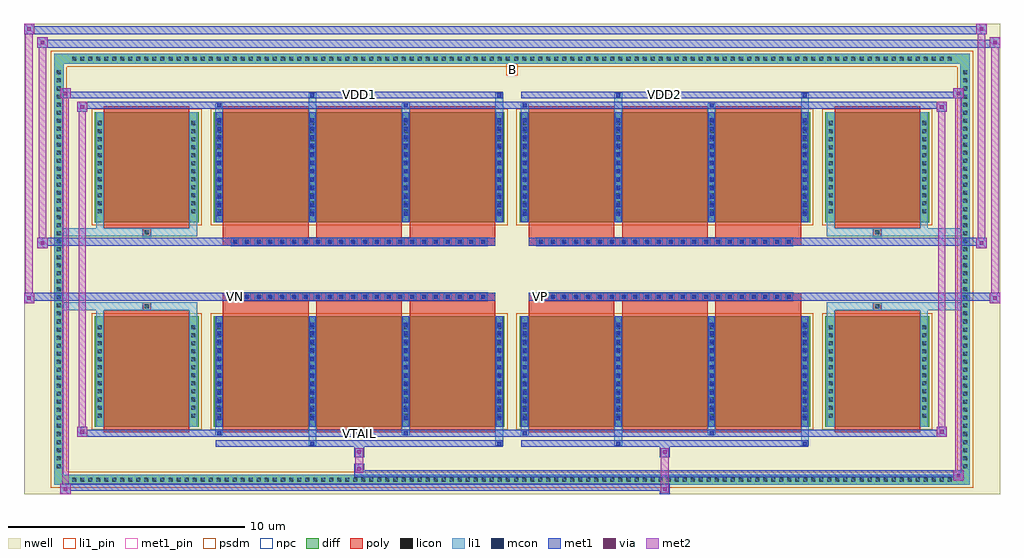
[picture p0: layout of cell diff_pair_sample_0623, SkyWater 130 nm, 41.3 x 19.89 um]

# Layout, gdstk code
import gdstk
lib = gdstk.Library(unit=1e-6, precision=5e-09)
def R(c, l, rs):  # rectangles x0, y0, x1, y1
    for r in rs: c.add(gdstk.rectangle(r[:2], r[2:], *l))
def A(c, l, x, y, w, h, nx, ny, dx, dy):  # array of equal rectangles
    R(c, l, [(x+i*dx, y+j*dy, x+i*dx+w, y+j*dy+h) for i in range(nx) for j in range(ny)])
def P(c, l, *ps):  # polygons
    for p in ps: c.add(gdstk.Polygon(p, *l))
nwell = (64, 20)
diff = (65, 20)
poly = (66, 20)
licon = (66, 44)
li1_pin = (67, 16)
li1 = (67, 20)
mcon = (67, 44)
met1_pin = (68, 16)
met1 = (68, 20)
via = (68, 44)
met2 = (69, 20)
psdm = (94, 20)
npc = (95, 20)

diff_pair_sample_0623 = lib.new_cell('diff_pair_sample_0623')
R(diff_pair_sample_0623, nwell, [(-20.65,-9.51,20.65,10.38), (-17.97,-7.7,-0.01,-0.8), (0.01,-7.7,17.97,-0.8), (-17.97,0.8,-0.01,7.7), (0.01,0.8,17.97,7.7)])
A(diff_pair_sample_0623, diff, -18.735, -9.11, 0.41, 0.41, 110, 2, 0.34, 17.81)
A(diff_pair_sample_0623, diff, -19.38, -8.535, 0.41, 0.41, 1, 50, 0, 0.34)
A(diff_pair_sample_0623, diff, 18.97, -8.535, 0.41, 0.41, 1, 50, 0, 0.34)
R(diff_pair_sample_0623, diff, [(-18.735,-9.11,18.735,-8.7), (-19.38,-8.535,-18.97,8.535), (18.97,-8.535,19.38,8.535), (-17.66,-6.655,-13.26,-1.985), (-12.62,-6.655,-0.32,-1.985), (0.32,-6.655,12.62,-1.985), (13.26,-6.655,17.66,-1.985), (-17.66,1.985,-13.26,6.655), (-12.62,1.985,-0.32,6.655), (0.32,1.985,12.62,6.655), (13.26,1.985,17.66,6.655), (-18.735,8.7,18.735,9.11)])
P(diff_pair_sample_0623, diff, [(19.38,9.11),(-19.38,9.11),(-19.38,-8.7),(-18.97,-8.7),(-18.97,8.7),(18.97,8.7),(18.97,-8.7),(-18.97,-8.7),(-19.38,-8.7),(-19.38,-9.11),(19.38,-9.11)])
A(diff_pair_sample_0623, poly, -12.23, -6.905, 3.62, 5.17, 3, 2, 3.95, 8.64)
A(diff_pair_sample_0623, poly, 0.71, -6.905, 3.62, 5.17, 3, 2, 3.95, 8.64)
A(diff_pair_sample_0623, poly, -12.23, -1.735, 3.62, 0.405, 3, 2, 3.95, 3.065)
A(diff_pair_sample_0623, poly, 0.71, -1.735, 3.62, 0.405, 3, 2, 3.95, 3.065)
A(diff_pair_sample_0623, poly, -11.885, -1.33, 0.33, 0.33, 22, 2, 0.5, 2.33)
A(diff_pair_sample_0623, poly, 1.055, -1.33, 0.33, 0.33, 22, 2, 0.5, 2.33)
R(diff_pair_sample_0623, poly, [(-17.27,-6.905,-13.65,-1.735), (13.65,-6.905,17.27,-1.735), (-15.625,-1.735,-15.295,-1.405), (-15.625,-1.735,-15.295,-1.405), (15.295,-1.735,15.625,-1.405), (15.295,-1.735,15.625,-1.405), (-12.23,-1.33,-0.71,-1), (0.71,-1.33,12.23,-1), (-12.23,1,-0.71,1.33), (0.71,1,12.23,1.33), (-15.625,1.405,-15.295,1.735), (-15.625,1.405,-15.295,1.735), (15.295,1.405,15.625,1.735), (15.295,1.405,15.625,1.735), (-17.27,1.735,-13.65,6.905), (13.65,1.735,17.27,6.905)])
A(diff_pair_sample_0623, licon, -18.615, -8.99, 0.17, 0.17, 110, 2, 0.34, 17.81)
A(diff_pair_sample_0623, licon, -19.26, -8.415, 0.17, 0.17, 1, 50, 0, 0.34)
A(diff_pair_sample_0623, licon, 19.09, -8.415, 0.17, 0.17, 1, 50, 0, 0.34)
A(diff_pair_sample_0623, licon, -17.52, -6.275, 0.17, 0.17, 1, 12, 0, 0.34)
A(diff_pair_sample_0623, licon, -13.57, -6.275, 0.17, 0.17, 1, 12, 0, 0.34)
A(diff_pair_sample_0623, licon, -12.48, -6.275, 0.17, 0.17, 4, 12, 3.95, 0.34)
A(diff_pair_sample_0623, licon, 0.46, -6.275, 0.17, 0.17, 4, 12, 3.95, 0.34)
A(diff_pair_sample_0623, licon, 13.4, -6.275, 0.17, 0.17, 1, 12, 0, 0.34)
A(diff_pair_sample_0623, licon, 17.35, -6.275, 0.17, 0.17, 1, 12, 0, 0.34)
A(diff_pair_sample_0623, licon, -11.805, -1.25, 0.17, 0.17, 22, 2, 0.5, 2.33)
A(diff_pair_sample_0623, licon, 1.135, -1.25, 0.17, 0.17, 22, 2, 0.5, 2.33)
A(diff_pair_sample_0623, licon, -17.52, 2.365, 0.17, 0.17, 1, 12, 0, 0.34)
A(diff_pair_sample_0623, licon, -13.57, 2.365, 0.17, 0.17, 1, 12, 0, 0.34)
A(diff_pair_sample_0623, licon, -12.48, 2.365, 0.17, 0.17, 4, 12, 3.95, 0.34)
A(diff_pair_sample_0623, licon, 0.46, 2.365, 0.17, 0.17, 4, 12, 3.95, 0.34)
A(diff_pair_sample_0623, licon, 13.4, 2.365, 0.17, 0.17, 1, 12, 0, 0.34)
A(diff_pair_sample_0623, licon, 17.35, 2.365, 0.17, 0.17, 1, 12, 0, 0.34)
R(diff_pair_sample_0623, licon, [(-15.545,-1.655,-15.375,-1.485), (15.375,-1.655,15.545,-1.485), (-15.545,1.485,-15.375,1.655), (15.375,1.485,15.545,1.655)])
R(diff_pair_sample_0623, li1_pin, [(-0.25,8.2,0.25,8.7)])
A(diff_pair_sample_0623, li1, -18.695, -9.07, 0.33, 0.33, 110, 2, 0.34, 17.81)
A(diff_pair_sample_0623, li1, -19.34, -8.495, 0.33, 0.33, 1, 50, 0, 0.34)
A(diff_pair_sample_0623, li1, 19.01, -8.495, 0.33, 0.33, 1, 50, 0, 0.34)
A(diff_pair_sample_0623, li1, -12.56, -6.655, 0.33, 4.67, 4, 2, 3.95, 8.64)
A(diff_pair_sample_0623, li1, 0.38, -6.655, 0.33, 4.67, 4, 2, 3.95, 8.64)
A(diff_pair_sample_0623, li1, -12.48, -6.385, 0.17, 0.17, 4, 12, 3.95, 0.36)
A(diff_pair_sample_0623, li1, -12.48, -6.385, 0.17, 4.13, 4, 2, 3.95, 8.64)
A(diff_pair_sample_0623, li1, 0.46, -6.385, 0.17, 0.17, 4, 12, 3.95, 0.36)
A(diff_pair_sample_0623, li1, 0.46, -6.385, 0.17, 4.13, 4, 2, 3.95, 8.64)
A(diff_pair_sample_0623, li1, -17.6, -6.355, 0.33, 0.33, 1, 12, 0, 0.34)
A(diff_pair_sample_0623, li1, -13.65, -6.355, 0.33, 0.33, 1, 12, 0, 0.34)
A(diff_pair_sample_0623, li1, -12.56, -6.355, 0.33, 0.33, 4, 12, 3.95, 0.34)
A(diff_pair_sample_0623, li1, 0.38, -6.355, 0.33, 0.33, 4, 12, 3.95, 0.34)
A(diff_pair_sample_0623, li1, 13.32, -6.355, 0.33, 0.33, 1, 12, 0, 0.34)
A(diff_pair_sample_0623, li1, 17.27, -6.355, 0.33, 0.33, 1, 12, 0, 0.34)
A(diff_pair_sample_0623, li1, -11.885, -1.33, 0.33, 0.33, 22, 2, 0.5, 2.33)
A(diff_pair_sample_0623, li1, 1.055, -1.33, 0.33, 0.33, 22, 2, 0.5, 2.33)
A(diff_pair_sample_0623, li1, -12.48, 2.255, 0.17, 0.17, 4, 12, 3.95, 0.36)
A(diff_pair_sample_0623, li1, 0.46, 2.255, 0.17, 0.17, 4, 12, 3.95, 0.36)
A(diff_pair_sample_0623, li1, -17.6, 2.285, 0.33, 0.33, 1, 12, 0, 0.34)
A(diff_pair_sample_0623, li1, -13.65, 2.285, 0.33, 0.33, 1, 12, 0, 0.34)
A(diff_pair_sample_0623, li1, -12.56, 2.285, 0.33, 0.33, 4, 12, 3.95, 0.34)
A(diff_pair_sample_0623, li1, 0.38, 2.285, 0.33, 0.33, 4, 12, 3.95, 0.34)
A(diff_pair_sample_0623, li1, 13.32, 2.285, 0.33, 0.33, 1, 12, 0, 0.34)
A(diff_pair_sample_0623, li1, 17.27, 2.285, 0.33, 0.33, 1, 12, 0, 0.34)
R(diff_pair_sample_0623, li1, [(-19.38,-9.11,-18.97,-8.7), (-19.38,-9.11,-18.97,-8.7), (-18.97,-9.11,18.97,-8.7), (18.97,-9.11,19.38,-8.7), (18.97,-9.11,19.38,-8.7), (-19.38,-8.7,-18.97,8.7), (18.97,-8.7,19.38,8.7), (-8.61,-7.46,-8.28,-6.655), (-8.53,-7.46,-8.36,-7.29), (-0.71,-7.46,-0.38,-6.655), (-0.63,-7.46,-0.46,-7.29), (4.33,-7.46,4.66,-6.655), (4.41,-7.46,4.58,-7.29), (12.23,-7.46,12.56,-6.655), (12.31,-7.46,12.48,-7.29), (-12.56,-7.03,-12.23,-6.655), (-12.48,-7.03,-12.31,-6.86), (-4.66,-7.03,-4.33,-6.655), (-4.58,-7.03,-4.41,-6.86), (0.38,-7.03,0.71,-6.655), (0.46,-7.03,0.63,-6.86), (8.28,-7.03,8.61,-6.655), (8.36,-7.03,8.53,-6.86), (-17.6,-6.655,-17.27,-1.985), (-13.65,-6.655,-13.32,-1.985), (13.32,-6.655,13.65,-1.985), (17.27,-6.655,17.6,-1.985), (-17.6,-1.985,-17.27,-1.405), (-13.65,-1.985,-13.32,-1.405), (13.32,-1.985,13.65,-1.405), (17.27,-1.985,17.6,-1.405), (-19.38,-1.735,-15.625,-1.405), (-17.6,-1.735,-15.625,-1.405), (-15.625,-1.735,-15.295,-1.405), (-15.295,-1.735,-13.32,-1.405), (13.32,-1.735,15.295,-1.405), (15.295,-1.735,15.625,-1.405), (15.295,-1.735,19.38,-1.405), (15.625,-1.735,17.6,-1.405), (-19.38,1.405,-15.625,1.735), (-17.6,1.405,-15.625,1.735), (-17.6,1.405,-17.27,1.985), (-15.625,1.405,-15.295,1.735), (-15.295,1.405,-13.32,1.735), (-13.65,1.405,-13.32,1.985), (13.32,1.405,15.295,1.735), (13.32,1.405,13.65,1.985), (15.295,1.405,15.625,1.735), (15.295,1.405,19.38,1.735), (15.625,1.405,17.6,1.735), (17.27,1.405,17.6,1.985), (-17.6,1.985,-17.27,6.655), (-13.65,1.985,-13.32,6.655), (13.32,1.985,13.65,6.655), (17.27,1.985,17.6,6.655), (-12.56,6.655,-12.23,7.03), (-8.61,6.655,-8.28,7.46), (-4.66,6.655,-4.33,7.03), (-0.71,6.655,-0.38,7.46), (0.38,6.655,0.71,7.03), (4.33,6.655,4.66,7.46), (8.28,6.655,8.61,7.03), (12.23,6.655,12.56,7.46), (-12.48,6.86,-12.31,7.03), (-4.58,6.86,-4.41,7.03), (0.46,6.86,0.63,7.03), (8.36,6.86,8.53,7.03), (-8.53,7.29,-8.36,7.46), (-0.63,7.29,-0.46,7.46), (4.41,7.29,4.58,7.46), (12.31,7.29,12.48,7.46), (-19.38,8.7,-18.97,9.11), (-19.38,8.7,-18.97,9.11), (-18.97,8.7,18.97,9.11), (18.97,8.7,19.38,9.11), (18.97,8.7,19.38,9.11)])
A(diff_pair_sample_0623, mcon, -12.48, -6.385, 0.17, 0.17, 4, 12, 3.95, 0.36)
A(diff_pair_sample_0623, mcon, 0.46, -6.385, 0.17, 0.17, 4, 12, 3.95, 0.36)
A(diff_pair_sample_0623, mcon, -11.805, -1.25, 0.17, 0.17, 22, 2, 0.5, 2.33)
A(diff_pair_sample_0623, mcon, 1.135, -1.25, 0.17, 0.17, 22, 2, 0.5, 2.33)
A(diff_pair_sample_0623, mcon, -12.48, 2.255, 0.17, 0.17, 4, 12, 3.95, 0.36)
A(diff_pair_sample_0623, mcon, 0.46, 2.255, 0.17, 0.17, 4, 12, 3.95, 0.36)
R(diff_pair_sample_0623, mcon, [(-8.53,-7.46,-8.36,-7.29), (-0.63,-7.46,-0.46,-7.29), (4.41,-7.46,4.58,-7.29), (12.31,-7.46,12.48,-7.29), (-12.48,-7.03,-12.31,-6.86), (-4.58,-7.03,-4.41,-6.86), (0.46,-7.03,0.63,-6.86), (8.36,-7.03,8.53,-6.86), (-12.48,6.86,-12.31,7.03), (-4.58,6.86,-4.41,7.03), (0.46,6.86,0.63,7.03), (8.36,6.86,8.53,7.03), (-8.53,7.29,-8.36,7.46), (-0.63,7.29,-0.46,7.46), (4.41,7.29,4.58,7.46), (12.31,7.29,12.48,7.46)])
R(diff_pair_sample_0623, met1_pin, [(-6.605,-7.07,-6.335,-6.8), (-11.855,-1.29,-11.585,-1.02), (1.085,-1.29,1.355,-1.02), (-6.605,7.25,-6.335,7.52), (6.335,7.25,6.605,7.52)])
A(diff_pair_sample_0623, met1, -12.54, -6.655, 0.29, 4.67, 4, 2, 3.95, 8.64)
A(diff_pair_sample_0623, met1, 0.4, -6.655, 0.29, 4.67, 4, 2, 3.95, 8.64)
A(diff_pair_sample_0623, met1, -12.54, -6.445, 0.29, 0.29, 4, 12, 3.95, 0.36)
A(diff_pair_sample_0623, met1, 0.4, -6.445, 0.29, 0.29, 4, 12, 3.95, 0.36)
A(diff_pair_sample_0623, met1, -11.865, -1.31, 0.29, 0.29, 22, 2, 0.5, 2.33)
A(diff_pair_sample_0623, met1, 1.075, -1.31, 0.29, 0.29, 22, 2, 0.5, 2.33)
A(diff_pair_sample_0623, met1, -12.54, 2.195, 0.29, 0.29, 4, 12, 3.95, 0.36)
A(diff_pair_sample_0623, met1, 0.4, 2.195, 0.29, 0.29, 4, 12, 3.95, 0.36)
R(diff_pair_sample_0623, met1, [(-19.11,-9.51,-18.68,-9.08), (6.255,-9.51,6.685,-9.08), (-19.11,-9.37,6.685,-9.08), (18.68,-8.94,19.11,-8.51), (-6.685,-8.8,19.11,-8.51), (-6.685,-8.66,-6.255,-8.23), (-6.685,-7.95,-6.255,-7.52), (6.255,-7.95,6.685,-7.52), (-12.54,-7.52,-0.4,-7.23), (-8.59,-7.52,-8.3,-7.23), (-0.69,-7.52,-0.4,-7.23), (0.4,-7.52,12.54,-7.23), (4.35,-7.52,4.64,-7.23), (12.25,-7.52,12.54,-7.23), (-18.4,-7.09,-17.97,-6.66), (-18.4,-7.09,-12.54,-6.8), (-12.54,-7.09,-12.25,-6.8), (-12.54,-7.09,-0.4,-6.8), (-4.64,-7.09,-4.35,-6.8), (-0.4,-7.09,0.4,-6.8), (0.4,-7.09,0.69,-6.8), (0.4,-7.09,12.54,-6.8), (8.3,-7.09,8.59,-6.8), (12.54,-7.09,18.4,-6.8), (17.97,-7.09,18.4,-6.66), (-20.65,-1.43,-20.22,-1), (20.22,-1.43,20.65,-1), (-20.65,-1.33,-0.71,-1), (-12.23,-1.33,-0.71,-1), (0.71,-1.33,12.23,-1), (0.71,-1.33,20.65,-1), (-20.08,0.9,-19.65,1.33), (19.65,0.9,20.08,1.33), (-20.08,1,-12.23,1.33), (-12.23,1,-0.71,1.33), (0.71,1,12.23,1.33), (12.23,1,20.08,1.33), (-18.4,6.66,-17.97,7.09), (17.97,6.66,18.4,7.09), (-18.4,6.8,-12.54,7.09), (-12.54,6.8,-12.25,7.09), (-12.54,6.8,-0.4,7.09), (-4.64,6.8,-4.35,7.09), (-0.4,6.8,0.4,7.09), (0.4,6.8,0.69,7.09), (0.4,6.8,12.54,7.09), (8.3,6.8,8.59,7.09), (12.54,6.8,18.4,7.09), (-19.11,7.23,-18.68,7.66), (-19.11,7.23,-12.54,7.52), (-12.54,7.23,-0.4,7.52), (-8.59,7.23,-8.3,7.52), (-0.69,7.23,-0.4,7.52), (0.4,7.23,12.54,7.52), (4.35,7.23,4.64,7.52), (12.25,7.23,12.54,7.52), (12.54,7.23,19.11,7.52), (18.68,7.23,19.11,7.66), (-20.08,9.38,-19.65,9.81), (-20.08,9.38,-17.97,9.71), (-17.97,9.38,17.97,9.71), (17.97,9.38,20.65,9.71), (20.22,9.38,20.65,9.81), (-20.65,9.95,-20.22,10.38), (-20.65,9.95,-17.97,10.28), (-17.97,9.95,17.97,10.28), (17.97,9.95,20.08,10.28), (19.65,9.95,20.08,10.38)])
R(diff_pair_sample_0623, via, [(-18.97,-9.37,-18.82,-9.22), (6.395,-9.37,6.545,-9.22), (18.82,-8.8,18.97,-8.65), (-6.545,-8.52,-6.395,-8.37), (-6.545,-7.81,-6.395,-7.66), (6.395,-7.81,6.545,-7.66), (-18.26,-6.95,-18.11,-6.8), (18.11,-6.95,18.26,-6.8), (-20.51,-1.29,-20.36,-1.14), (20.36,-1.29,20.51,-1.14), (-19.94,1.04,-19.79,1.19), (19.79,1.04,19.94,1.19), (-18.26,6.8,-18.11,6.95), (18.11,6.8,18.26,6.95), (-18.97,7.37,-18.82,7.52), (18.82,7.37,18.97,7.52), (-19.94,9.52,-19.79,9.67), (20.36,9.52,20.51,9.67), (-20.51,10.09,-20.36,10.24), (19.79,10.09,19.94,10.24)])
R(diff_pair_sample_0623, met2, [(-19.11,-9.51,-18.68,-9.08), (-19.04,-9.51,-18.75,7.66), (-18.75,-9.51,-18.68,-9.08), (-19.06,-9.46,-18.73,-9.13), (6.305,-9.46,6.635,-9.13), (6.305,-9.13,6.635,-7.9), (18.68,-8.94,19.11,-8.51), (18.75,-8.94,19.04,7.66), (19.04,-8.94,19.11,-8.51), (18.73,-8.89,19.06,-8.56), (-6.635,-8.61,-6.305,-8.28), (-6.635,-8.28,-6.305,-7.9), (-6.635,-7.9,-6.305,-7.57), (6.305,-7.9,6.635,-7.57), (-18.4,-7.09,-17.97,-6.66), (-18.33,-7.09,-18.04,7.09), (-18.04,-7.09,-17.97,-6.66), (17.97,-7.09,18.4,-6.66), (18.04,-7.09,18.33,7.09), (18.33,-7.09,18.4,-6.66), (-18.35,-7.04,-18.02,-6.71), (18.02,-7.04,18.35,-6.71), (-20.65,-1.43,-20.22,-1), (-20.6,-1.43,-20.27,10.38), (-20.27,-1.43,-20.22,-1), (20.22,-1.43,20.65,-1), (20.27,-1.43,20.6,9.81), (20.6,-1.43,20.65,-1), (-20.6,-1.38,-20.27,-1.05), (20.27,-1.38,20.6,-1.05), (-20.08,0.9,-19.65,1.33), (-20.03,0.9,-19.7,9.81), (-19.7,0.9,-19.65,1.33), (19.65,0.9,20.08,1.33), (19.7,0.9,20.03,10.38), (20.03,0.9,20.08,1.33), (-20.03,0.95,-19.7,1.28), (19.7,0.95,20.03,1.28), (-18.4,6.66,-17.97,7.09), (-18.04,6.66,-17.97,7.09), (17.97,6.66,18.4,7.09), (18.33,6.66,18.4,7.09), (-18.35,6.71,-18.02,7.04), (18.02,6.71,18.35,7.04), (-19.11,7.23,-18.68,7.66), (-18.75,7.23,-18.68,7.66), (18.68,7.23,19.11,7.66), (19.04,7.23,19.11,7.66), (-19.06,7.28,-18.73,7.61), (18.73,7.28,19.06,7.61), (-20.08,9.38,-19.65,9.81), (-19.7,9.38,-19.65,9.81), (20.22,9.38,20.65,9.81), (20.6,9.38,20.65,9.81), (-20.03,9.43,-19.7,9.76), (20.27,9.43,20.6,9.76), (-20.65,9.95,-20.22,10.38), (-20.27,9.95,-20.22,10.38), (19.65,9.95,20.08,10.38), (20.03,9.95,20.08,10.38), (-20.6,10,-20.27,10.33), (19.7,10,20.03,10.33)])
R(diff_pair_sample_0623, psdm, [(-17.79,-6.785,-13.13,-1.855), (-12.75,-6.785,-0.19,-1.855), (0.19,-6.785,12.75,-1.855), (13.13,-6.785,17.79,-1.855), (-17.79,1.855,-13.13,6.785), (-12.75,1.855,-0.19,6.785), (0.19,1.855,12.75,6.785), (13.13,1.855,17.79,6.785)])
P(diff_pair_sample_0623, psdm, [(19.51,9.24),(-19.51,9.24),(-19.51,-8.57),(-18.84,-8.57),(-18.84,8.57),(18.84,8.57),(18.84,-8.57),(-18.84,-8.57),(-19.51,-8.57),(-19.51,-9.24),(19.51,-9.24)])
A(diff_pair_sample_0623, npc, -11.905, -1.35, 0.37, 0.37, 22, 2, 0.5, 2.33)
A(diff_pair_sample_0623, npc, 1.035, -1.35, 0.37, 0.37, 22, 2, 0.5, 2.33)
R(diff_pair_sample_0623, npc, [(-15.645,-1.755,-15.275,-1.385), (15.275,-1.755,15.645,-1.385), (-11.905,-1.35,-11.035,-0.98), (-11.905,-1.35,-11.035,-0.98), (-11.405,-1.35,-10.535,-0.98), (-11.405,-1.35,-10.535,-0.98), (-10.905,-1.35,-10.035,-0.98), (-10.905,-1.35,-10.035,-0.98), (-10.405,-1.35,-9.535,-0.98), (-10.405,-1.35,-9.535,-0.98), (-9.905,-1.35,-9.035,-0.98), (-9.905,-1.35,-9.035,-0.98), (-9.405,-1.35,-8.535,-0.98), (-9.405,-1.35,-8.535,-0.98), (-8.905,-1.35,-8.035,-0.98), (-8.905,-1.35,-8.035,-0.98), (-8.405,-1.35,-7.535,-0.98), (-8.405,-1.35,-7.535,-0.98), (-7.905,-1.35,-7.035,-0.98), (-7.905,-1.35,-7.035,-0.98), (-7.405,-1.35,-6.535,-0.98), (-7.405,-1.35,-6.535,-0.98), (-6.905,-1.35,-6.035,-0.98), (-6.905,-1.35,-6.035,-0.98), (-6.405,-1.35,-5.535,-0.98), (-6.405,-1.35,-5.535,-0.98), (-5.905,-1.35,-5.035,-0.98), (-5.905,-1.35,-5.035,-0.98), (-5.405,-1.35,-4.535,-0.98), (-5.405,-1.35,-4.535,-0.98), (-4.905,-1.35,-4.035,-0.98), (-4.905,-1.35,-4.035,-0.98), (-4.405,-1.35,-3.535,-0.98), (-4.405,-1.35,-3.535,-0.98), (-3.905,-1.35,-3.035,-0.98), (-3.905,-1.35,-3.035,-0.98), (-3.405,-1.35,-2.535,-0.98), (-3.405,-1.35,-2.535,-0.98), (-2.905,-1.35,-2.035,-0.98), (-2.905,-1.35,-2.035,-0.98), (-2.405,-1.35,-1.535,-0.98), (-2.405,-1.35,-1.535,-0.98), (-1.905,-1.35,-1.035,-0.98), (-1.905,-1.35,-1.035,-0.98), (1.035,-1.35,1.905,-0.98), (1.035,-1.35,1.905,-0.98), (1.535,-1.35,2.405,-0.98), (1.535,-1.35,2.405,-0.98), (2.035,-1.35,2.905,-0.98), (2.035,-1.35,2.905,-0.98), (2.535,-1.35,3.405,-0.98), (2.535,-1.35,3.405,-0.98), (3.035,-1.35,3.905,-0.98), (3.035,-1.35,3.905,-0.98), (3.535,-1.35,4.405,-0.98), (3.535,-1.35,4.405,-0.98), (4.035,-1.35,4.905,-0.98), (4.035,-1.35,4.905,-0.98), (4.535,-1.35,5.405,-0.98), (4.535,-1.35,5.405,-0.98), (5.035,-1.35,5.905,-0.98), (5.035,-1.35,5.905,-0.98), (5.535,-1.35,6.405,-0.98), (5.535,-1.35,6.405,-0.98), (6.035,-1.35,6.905,-0.98), (6.035,-1.35,6.905,-0.98), (6.535,-1.35,7.405,-0.98), (6.535,-1.35,7.405,-0.98), (7.035,-1.35,7.905,-0.98), (7.035,-1.35,7.905,-0.98), (7.535,-1.35,8.405,-0.98), (7.535,-1.35,8.405,-0.98), (8.035,-1.35,8.905,-0.98), (8.035,-1.35,8.905,-0.98), (8.535,-1.35,9.405,-0.98), (8.535,-1.35,9.405,-0.98), (9.035,-1.35,9.905,-0.98), (9.035,-1.35,9.905,-0.98), (9.535,-1.35,10.405,-0.98), (9.535,-1.35,10.405,-0.98), (10.035,-1.35,10.905,-0.98), (10.035,-1.35,10.905,-0.98), (10.535,-1.35,11.405,-0.98), (10.535,-1.35,11.405,-0.98), (11.035,-1.35,11.905,-0.98), (11.035,-1.35,11.905,-0.98), (-11.905,0.98,-11.035,1.35), (-11.905,0.98,-11.035,1.35), (-11.405,0.98,-10.535,1.35), (-11.405,0.98,-10.535,1.35), (-10.905,0.98,-10.035,1.35), (-10.905,0.98,-10.035,1.35), (-10.405,0.98,-9.535,1.35), (-10.405,0.98,-9.535,1.35), (-9.905,0.98,-9.035,1.35), (-9.905,0.98,-9.035,1.35), (-9.405,0.98,-8.535,1.35), (-9.405,0.98,-8.535,1.35), (-8.905,0.98,-8.035,1.35), (-8.905,0.98,-8.035,1.35), (-8.405,0.98,-7.535,1.35), (-8.405,0.98,-7.535,1.35), (-7.905,0.98,-7.035,1.35), (-7.905,0.98,-7.035,1.35), (-7.405,0.98,-6.535,1.35), (-7.405,0.98,-6.535,1.35), (-6.905,0.98,-6.035,1.35), (-6.905,0.98,-6.035,1.35), (-6.405,0.98,-5.535,1.35), (-6.405,0.98,-5.535,1.35), (-5.905,0.98,-5.035,1.35), (-5.905,0.98,-5.035,1.35), (-5.405,0.98,-4.535,1.35), (-5.405,0.98,-4.535,1.35), (-4.905,0.98,-4.035,1.35), (-4.905,0.98,-4.035,1.35), (-4.405,0.98,-3.535,1.35), (-4.405,0.98,-3.535,1.35), (-3.905,0.98,-3.035,1.35), (-3.905,0.98,-3.035,1.35), (-3.405,0.98,-2.535,1.35), (-3.405,0.98,-2.535,1.35), (-2.905,0.98,-2.035,1.35), (-2.905,0.98,-2.035,1.35), (-2.405,0.98,-1.535,1.35), (-2.405,0.98,-1.535,1.35), (-1.905,0.98,-1.035,1.35), (-1.905,0.98,-1.035,1.35), (1.035,0.98,1.905,1.35), (1.035,0.98,1.905,1.35), (1.535,0.98,2.405,1.35), (1.535,0.98,2.405,1.35), (2.035,0.98,2.905,1.35), (2.035,0.98,2.905,1.35), (2.535,0.98,3.405,1.35), (2.535,0.98,3.405,1.35), (3.035,0.98,3.905,1.35), (3.035,0.98,3.905,1.35), (3.535,0.98,4.405,1.35), (3.535,0.98,4.405,1.35), (4.035,0.98,4.905,1.35), (4.035,0.98,4.905,1.35), (4.535,0.98,5.405,1.35), (4.535,0.98,5.405,1.35), (5.035,0.98,5.905,1.35), (5.035,0.98,5.905,1.35), (5.535,0.98,6.405,1.35), (5.535,0.98,6.405,1.35), (6.035,0.98,6.905,1.35), (6.035,0.98,6.905,1.35), (6.535,0.98,7.405,1.35), (6.535,0.98,7.405,1.35), (7.035,0.98,7.905,1.35), (7.035,0.98,7.905,1.35), (7.535,0.98,8.405,1.35), (7.535,0.98,8.405,1.35), (8.035,0.98,8.905,1.35), (8.035,0.98,8.905,1.35), (8.535,0.98,9.405,1.35), (8.535,0.98,9.405,1.35), (9.035,0.98,9.905,1.35), (9.035,0.98,9.905,1.35), (9.535,0.98,10.405,1.35), (9.535,0.98,10.405,1.35), (10.035,0.98,10.905,1.35), (10.035,0.98,10.905,1.35), (10.535,0.98,11.405,1.35), (10.535,0.98,11.405,1.35), (11.035,0.98,11.905,1.35), (11.035,0.98,11.905,1.35), (-15.645,1.385,-15.275,1.755), (15.275,1.385,15.645,1.755)])
diff_pair_sample_0623.add(gdstk.Label('VTAIL', (-6.47,-6.935), layer=68, texttype=5))
diff_pair_sample_0623.add(gdstk.Label('VN', (-11.72,-1.155), layer=68, texttype=5))
diff_pair_sample_0623.add(gdstk.Label('VP', (1.22,-1.155), layer=68, texttype=5))
diff_pair_sample_0623.add(gdstk.Label('B', (0,8.45), layer=67, texttype=5))
diff_pair_sample_0623.add(gdstk.Label('VDD2', (6.47,7.385), layer=68, texttype=5))
diff_pair_sample_0623.add(gdstk.Label('VDD1', (-6.47,7.385), layer=68, texttype=5))

lib.write_gds('diff_pair_sample_0623.gds')
